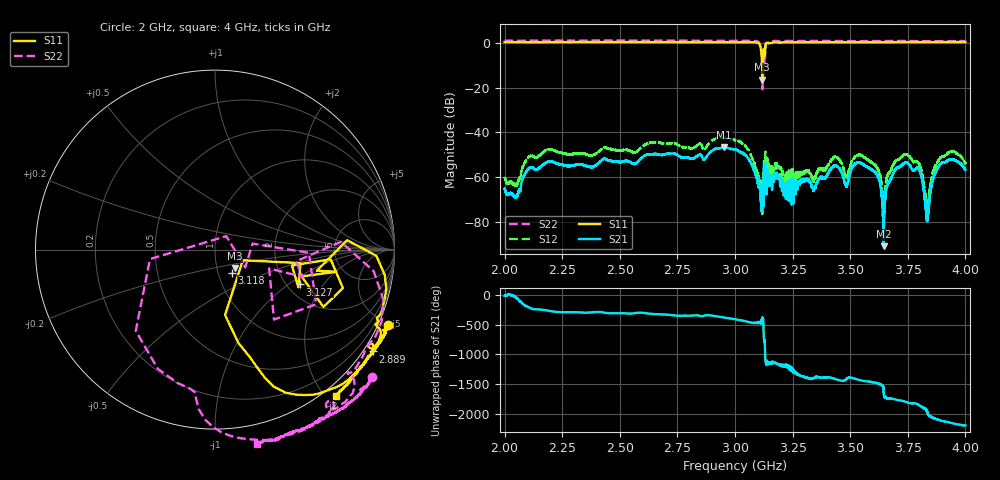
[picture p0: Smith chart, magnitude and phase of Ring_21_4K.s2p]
!Agilent Technologies,N5230C,SG49000117,A.08.50.07
!Agilent N5230C: A.08.50.07
!Date: Tuesday, May 07, 2024 03:06:20
!Correction: S11(Full 2 Port(1,2))
!S21(Full 2 Port(1,2))
!S12(Full 2 Port(1,2))
!S22(Full 2 Port(1,2))
!S2P File: Measurements: S11, S21, S12, S22:
# Hz S  MA  R 50
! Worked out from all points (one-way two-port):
!   20001 points, 2 GHz to 4 GHz, reference 50 ohm
!   highest |S21| = -46.61 dB at 2.953 GHz (marker M1); lowest = -91.0 dB at 3.645 GHz (marker M2)
!   lowest |S11| = -16.4 dB at 3.118 GHz (marker M3), VSWR 1.36, Z = 60.9 - j12.9 ohm
!   |S11| at or under -10 dB: 3.116962 GHz to 3.11856 GHz (1.599 MHz wide, 0.0513 % of centre)
!   |S22| runs from -20.7 to 1.2 dB; largest |S21 - S12| = 0.0041
!   S11 on the Smith chart (normalised r, x): 2 GHz: -0.60, -4.72; 2.889 GHz: -0.29, -3.38; 3.118 GHz: 1.16, -0.31; 3.127 GHz: 2.34, -1.23; 4 GHz: -0.15, -2.12
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2e9  1.052 -23.6  0.0005428 -14.1  0.000996 -32.7  1.128 -39.1
2.1843e9  1.051 -25.0  0.002157 99.7  0.004106 80.6  1.138 -41.6
2.3334e9  1.058 -26.5  0.001892 64.6  0.003382 44.6  1.134 -44.2
2.6667e9  1.053 -29.5  0.003216 33.7  0.005875 9.9  1.134 -49.7
2.8888e9  1.048 -32.8  0.003394 18.3  0.005815 -7.0  1.122 -55.4
2.9526e9  1.048 -34.2  0.004673 -18.6  0.007451 -45.0  1.118 -57.6
3e9  1.044 -35.6  0.004172 -47.9  0.006698 -73.5  1.119 -59.6
3.0974e9  1.022 -48.7  0.0008434 -110.7  0.001189 -139.4  1.084 -78.0
3.1177e9  0.1587 -54.1  0.0003385 -83.7  0.0003392 -90.8  0.4461 -160.3
3.1178e9  0.1517 -43.1  0.0003144 -86.2  0.0002996 -92.7  0.4205 -163.9
3.1269e9  0.5114 -22.3  0.0009766 -70.9  0.00137 -76.2  0.3 -28.6
3.1757e9  1.044 -29.7  0.001077 -72.5  0.001805 -95.1  1.114 -50.3
3.3334e9  1.046 -37.1  0.0005973 33.1  0.0009647 10.3  1.114 -61.1
3.4841e9  1.044 -39.7  0.0006104 28.9  0.001018 -0.6  1.107 -66.2
3.5456e9  1.047 -41.2  0.002075 6.0  0.003124 -21.5  1.105 -67.9
3.6174e9  1.044 -43.0  0.001107 -43.0  0.001578 -67.4  1.107 -69.7
3.6449e9  1.048 -43.7  2.813e-05 -175.4  6.235e-05 -177.5  1.108 -70.5
3.6667e9  1.049 -44.1  0.0007748 54.5  0.001232 28.2  1.108 -71.3
3.7939e9  1.052 -46.3  0.001606 -38.6  0.002154 -74.1  1.105 -74.4
3.8342e9  1.051 -47.1  0.0001046 -162.8  0.0001363 171.8  1.101 -75.1
3.8907e9  1.053 -48.2  0.001941 54.8  0.002678 26.5  1.102 -76.1
4e9  1.055 -50.4  0.001446 -30.9  0.001983 -61.0  1.11 -77.9
